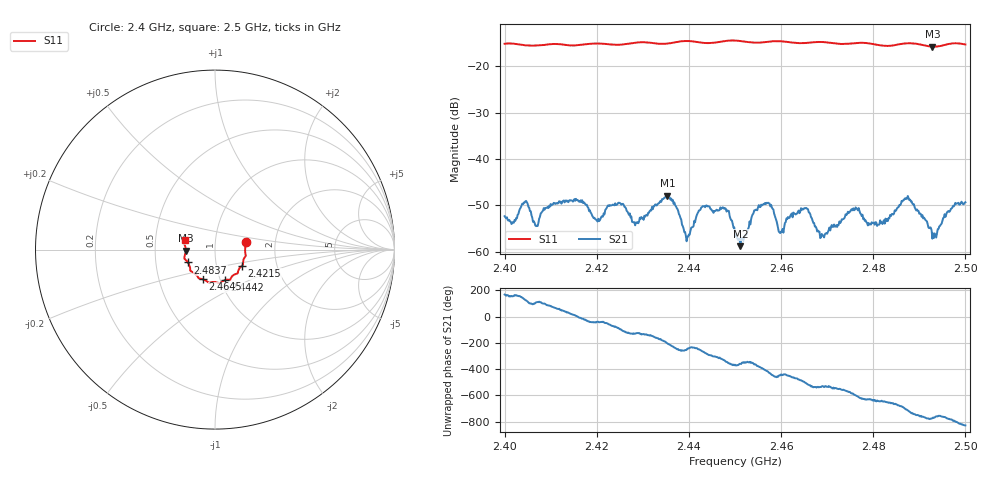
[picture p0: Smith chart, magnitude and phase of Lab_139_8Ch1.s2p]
# Hz S RI R 50
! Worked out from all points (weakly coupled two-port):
!   601 points, 2.4 GHz to 2.5 GHz, reference 50 ohm
!   highest |S21| = -47.88 dB at 2.4353 GHz (marker M1); lowest = -58.8 dB at 2.4512 GHz (marker M2)
!   lowest |S11| = -15.7 dB at 2.4928 GHz (marker M3), VSWR 1.39, Z = 36 - j0.371 ohm
!   |S11| at or under -10 dB: start of sweep to end of sweep
!   S12 and S22 are empty: the file has one direction only
!   S11 on the Smith chart (normalised r, x): 2.4 GHz: 1.41, +0.12; 2.4215 GHz: 1.33, -0.25; 2.4442 GHz: 1.05, -0.37; 2.4645 GHz: 0.83, -0.29; 2.4837 GHz: 0.73, -0.11; 2.5 GHz: 0.71, +0.07
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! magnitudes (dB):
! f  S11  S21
! 2.4 GHz  -15.1  -52.3
! 2.4167 GHz  -15.3  -49.3
! 2.4215 GHz  -15.1  -51.7
! 2.4252 GHz  -15.3  -49.6
! 2.4287 GHz  -14.8  -53.8
! 2.4333 GHz  -15.1  -49.6
! 2.4353 GHz  -15.1  -47.9
! 2.4397 GHz  -14.5  -56.8
! 2.4442 GHz  -15.0  -50.2
! 2.45 GHz  -14.4  -55.9
! 2.4512 GHz  -14.5  -58.8
! 2.4562 GHz  -14.8  -49.7
! 2.46 GHz  -14.6  -55.7
! 2.4645 GHz  -15.0  -51.0
! 2.4667 GHz  -14.8  -52.8
! 2.469 GHz  -14.7  -56.5
! 2.4758 GHz  -15.0  -51.1
! 2.4833 GHz  -15.6  -52.7
! 2.4837 GHz  -15.5  -52.1
! 2.4875 GHz  -15.0  -48.0
! 2.4928 GHz  -15.7  -57.2
! 2.5 GHz  -15.3  -49.3
